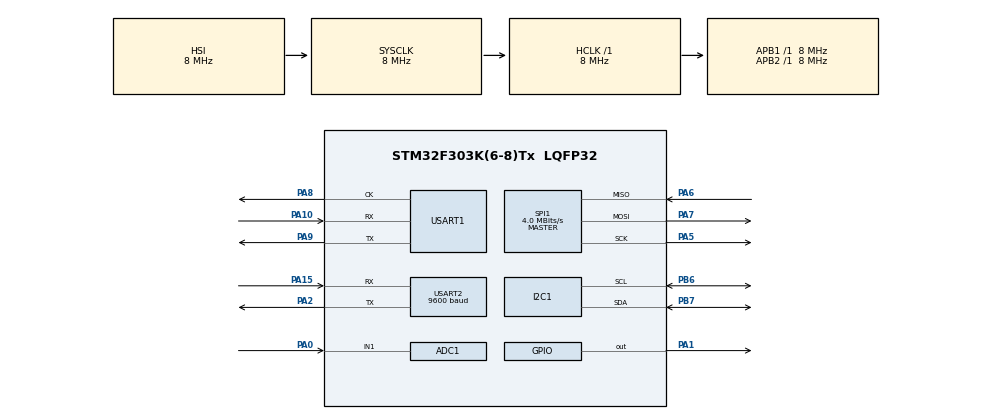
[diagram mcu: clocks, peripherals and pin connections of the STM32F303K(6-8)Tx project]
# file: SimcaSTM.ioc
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ADC1.Channel-0\#ChannelRegularConversion=ADC_CHANNEL_1
ADC1.NbrOfConversionFlag=1
ADC1.Offset-0\#ChannelRegularConversion=0
ADC1.OffsetNumber-0\#ChannelRegularConversion=ADC_OFFSET_NONE
ADC1.Rank-0\#ChannelRegularConversion=1
ADC1.SamplingTime-0\#ChannelRegularConversion=ADC_SAMPLETIME_1CYCLE_5
ADC1.SubFamily=STM32F303x8
ADC1.master=1
FREERTOS.Tasks01=defaultTask,24,128,StartDefaultTask,Default,NULL,Dynamic,NULL,NULL
FREERTOS.configTOTAL_HEAP_SIZE=4096
I2C1.OwnAddress=0x5C
Mcu.Family=STM32F3
Mcu.Name=STM32F303K(6-8)Tx
Mcu.Package=LQFP32
NVIC.PriorityGroup=NVIC_PRIORITYGROUP_4
PA0.Mode=IN1-Single-Ended
PA0.Signal=ADC1_IN1
PA1.Signal=GPIO_Output
PA10.Mode=Synchronous
PA10.Signal=USART1_RX
PA13.GPIO_Label=SWDIO
PA13.Mode=Serial_Wire
PA13.Signal=SYS_JTMS-SWDIO
PA14.GPIO_Label=SWCLK
PA14.Mode=Serial_Wire
PA14.Signal=SYS_JTCK-SWCLK
PA15.Mode=Asynchronous
PA15.Signal=USART2_RX
PA2.Mode=Asynchronous
PA2.Signal=USART2_TX
PA5.Mode=Full_Duplex_Master
PA5.Signal=SPI1_SCK
PA6.Mode=Full_Duplex_Master
PA6.Signal=SPI1_MISO
PA7.Mode=Full_Duplex_Master
PA7.Signal=SPI1_MOSI
PA8.Mode=Synchronous
PA8.Signal=USART1_CK
PA9.Mode=Synchronous
PA9.Signal=USART1_TX
PB6.Mode=I2C
PB6.Signal=I2C1_SCL
PB7.Mode=I2C
PB7.Signal=I2C1_SDA
PF0\ /\ OSC_IN.GPIO_Label=MCO
PF0\ /\ OSC_IN.Mode=HSE-External-Clock-Source
PF0\ /\ OSC_IN.Signal=RCC_OSC_IN
ProjectManager.HeapSize=0x200
ProjectManager.StackSize=0x400
ProjectManager.TargetToolchain=STM32CubeIDE
RCC.AHBFreq_Value=8000000
RCC.APB1Freq_Value=8000000
RCC.APB2Freq_Value=8000000
RCC.CortexFreq_Value=8000000
RCC.HSE_VALUE=8000000
RCC.HSI_VALUE=8000000
RCC.PLLMUL=RCC_PLL_MUL4
RCC.SYSCLKFreq_VALUE=8000000
SPI1.CalculateBaudRate=4.0 MBits/s
SPI1.Direction=SPI_DIRECTION_2LINES
SPI1.Mode=SPI_MODE_MASTER
SPI1.VirtualType=VM_MASTER
USART1.VirtualMode-Synchronous=VM_SYNC
USART2.BaudRate=9600
USART2.VirtualMode-Asynchronous=VM_ASYNC
VP_FREERTOS_VS_CMSIS_V2.Mode=CMSIS_V2
board=NUCLEO-F303K8

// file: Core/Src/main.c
/* USER CODE BEGIN Header */
/**
  ******************************************************************************
  * @file           : main.c
  * @brief          : Main program body
  ******************************************************************************
  * @attention
  *
  * Copyright (c) 2024 STMicroelectronics.
  * All rights reserved.
  *
  * This software is licensed under terms that can be found in the LICENSE file
  * in the root directory of this software component.
  * If no LICENSE file comes with this software, it is provided AS-IS.
  *
  ******************************************************************************
  */
/* USER CODE END Header */
#include "main.h"
#include "cmsis_os.h"

ADC_HandleTypeDef hadc1;

I2C_HandleTypeDef hi2c1;

SPI_HandleTypeDef hspi1;

USART_HandleTypeDef husart1;
UART_HandleTypeDef huart2;

/* Definitions for defaultTask */
osThreadId_t defaultTaskHandle;
const osThreadAttr_t defaultTask_attributes = {
  .name = "defaultTask",
  .stack_size = 128 * 4,
  .priority = (osPriority_t) osPriorityNormal,
};
/* USER CODE BEGIN PV */
#define I2C_ADDRESS 0x5C // Dirección del sensor I2C
#define FACTOR_DE_CONVERSION_CO2 5000 / 3.3

/* USER CODE END PV */

void SystemClock_Config(void);
static void MX_GPIO_Init(void);
static void MX_USART2_UART_Init(void);
static void MX_ADC1_Init(void);
static void MX_I2C1_Init(void);
static void MX_SPI1_Init(void);
static void MX_USART1_Init(void);
void StartDefaultTask(void *argument);

/* USER CODE BEGIN 0 */

void vADCTask(void *pvParameters) {
	uint16_t adc_value;
	float voltage;
	float value;
	char buffer[50];

	for (;;) {
		osDelay(2000); // Leer cada segundo
		// Leer el valor del ADC
		HAL_ADC_Start(&hadc1);
		if (HAL_ADC_PollForConversion(&hadc1, HAL_MAX_DELAY) == HAL_OK) {
			adc_value = HAL_ADC_GetValue(&hadc1);
		}
		HAL_ADC_Stop(&hadc1);

		// Convertir el valor del ADC a voltaje
		voltage = (adc_value * 5.0) / 4095; // Suponiendo un rango de 0 a 5V

		// Aplicar el FACTOR_DE_CONVERSION_CO2
		value = voltage * FACTOR_DE_CONVERSION_CO2;

		// Formatear el mensaje para enviarlo por UART
		int len = snprintf(buffer, sizeof(buffer), "ADD_GAS_CONCENTRATION:%.2f\n", value);
		if (len < 0 || len >= sizeof(buffer)) {
			// Error de formateo, el búfer es demasiado pequeño
			// Manejar el error según sea necesario
		}

		// Imprimir el contenido del búfer para depuración
		printf("Contenido del búfer: %s\n", buffer);

		// Enviar el mensaje por UART
		HAL_UART_Transmit(&huart2, (uint8_t*)buffer, len, HAL_MAX_DELAY);
	}
}

void vI2CTask(void *pvParameters) {
  uint8_t data[2];
  uint16_t value;
  char buffer[50]; // Aumenta el tamaño del buffer para acomodar el mensaje completo
  for (;;) {
  	HAL_Delay(1000); // Leer cada segundo
    // Leer datos del sensor I2C
    HAL_I2C_Master_Receive(&hi2c1, I2C_ADDRESS, data, 2, HAL_MAX_DELAY);

    // Convertir datos en un valor
    value = (data[0] << 8) | data[1];

    // Formatear el mensaje para que coincida con el formato esperado por el servidor
    sprintf(buffer, "ADD_LIGHT_INTENSITY:%d\n", value);

    // Enviar el valor formateado por la UART
    HAL_UART_Transmit(&huart2, (uint8_t*)buffer, strlen(buffer), HAL_MAX_DELAY);
  }
}

void vSPITask(void *pvParameters) {
    uint8_t rxBuffer[4];
    uint32_t temperature;
    char buffer[50];

    for (;;) {
    	HAL_Delay(2000);
        HAL_GPIO_WritePin(GPIOA, GPIO_PIN_1, GPIO_PIN_RESET); // CS Low (usar PA1)
        HAL_SPI_Receive(&hspi1, rxBuffer, 4, HAL_MAX_DELAY);  // Leer 4 bytes del MAX31855
        HAL_GPIO_WritePin(GPIOA, GPIO_PIN_1, GPIO_PIN_SET);   // CS High (usar PA1)

        // Combinar los bytes recibidos en un valor de 32 bits
        temperature = (rxBuffer[0] << 24) | (rxBuffer[1] << 16) | (rxBuffer[2] << 8) | rxBuffer[3];

        // Extraer el valor de temperatura
        int16_t temp = (temperature >> 18) & 0x00003FFF;
        if (temp & 0x2000) {
            temp |= 0xC000; // Extender el signo para valores negativos
        }

        float temperatureCelsius = temp * 0.25; // Convertir a grados Celsius

        // Formatear el mensaje para enviarlo por UART
        int len = snprintf(buffer, sizeof(buffer), "ADD_TEMPERATURE:%.2f\n", temperatureCelsius);
        if (len > 0 && len < sizeof(buffer)) {
            HAL_UART_Transmit(&huart2, (uint8_t*)buffer, len, HAL_MAX_DELAY);
        }
    }
}

/* USER CODE END 0 */

int main(void)
{

  /* MCU Configuration--------------------------------------------------------*/

  /* Reset of all peripherals, Initializes the Flash interface and the Systick. */
  HAL_Init();

  /* Configure the system clock */
  SystemClock_Config();

  /* Initialize all configured peripherals */
  MX_GPIO_Init();
  MX_USART2_UART_Init();
  MX_ADC1_Init();
  MX_I2C1_Init();
  MX_SPI1_Init();
  MX_USART1_Init();

  /* Init scheduler */
  osKernelInitialize();

  /* Create the thread(s) */
  /* creation of defaultTask */
  defaultTaskHandle = osThreadNew(StartDefaultTask, NULL, &defaultTask_attributes);

  /* USER CODE BEGIN RTOS_EVENTS */

  osThreadAttr_t adcTask_attributes = {
    .name = "adcTask",
    .stack_size = 256 * 4,
    .priority = (osPriority_t) osPriorityNormal,
  };

  osThreadAttr_t spiTask_attributes = {
     .name = "spiTask",
     .stack_size = 256 * 4,
     .priority = (osPriority_t) osPriorityNormal,
 };

  osThreadAttr_t i2cTask_attributes = {
    .name = "i2cTask",
    .stack_size = 256 * 4,
    .priority = (osPriority_t) osPriorityNormal,
  };

  osThreadId_t adcTaskHandle = osThreadNew(vADCTask, NULL, &adcTask_attributes);
  osThreadId_t spiTaskHandle = osThreadNew(vSPITask, NULL, &spiTask_attributes);
  osThreadId_t i2cTaskHandle = osThreadNew(vI2CTask, NULL, &i2cTask_attributes);
  if (adcTaskHandle == NULL) {
      printf("Failed to create adcTask\n");
  }
  if (spiTaskHandle == NULL) {
      printf("Failed to create spiTask\n");
  }
  if (i2cTaskHandle == NULL) {
      printf("Failed to create i2cTask\n");
  }

  /* USER CODE END RTOS_EVENTS */

  /* Start scheduler */
  osKernelStart();

  /* We should never get here as control is now taken by the scheduler */

  /* Infinite loop */
  while (1)
  {

  }
}

void SystemClock_Config(void)
{
  RCC_OscInitTypeDef RCC_OscInitStruct = {0};
  RCC_ClkInitTypeDef RCC_ClkInitStruct = {0};
  RCC_PeriphCLKInitTypeDef PeriphClkInit = {0};

  /** Initializes the RCC Oscillators according to the specified parameters
  * in the RCC_OscInitTypeDef structure.
  */
  RCC_OscInitStruct.OscillatorType = RCC_OSCILLATORTYPE_HSI;
  RCC_OscInitStruct.HSIState = RCC_HSI_ON;
  RCC_OscInitStruct.HSICalibrationValue = RCC_HSICALIBRATION_DEFAULT;
  RCC_OscInitStruct.PLL.PLLState = RCC_PLL_ON;
  RCC_OscInitStruct.PLL.PLLSource = RCC_PLLSOURCE_HSI;
  RCC_OscInitStruct.PLL.PLLMUL = RCC_PLL_MUL4;
  if (HAL_RCC_OscConfig(&RCC_OscInitStruct) != HAL_OK)
  {
    Error_Handler();
  }

  /** Initializes the CPU, AHB and APB buses clocks
  */
  RCC_ClkInitStruct.ClockType = RCC_CLOCKTYPE_HCLK|RCC_CLOCKTYPE_SYSCLK
                              |RCC_CLOCKTYPE_PCLK1|RCC_CLOCKTYPE_PCLK2;
  RCC_ClkInitStruct.SYSCLKSource = RCC_SYSCLKSOURCE_HSI;
  RCC_ClkInitStruct.AHBCLKDivider = RCC_SYSCLK_DIV1;
  RCC_ClkInitStruct.APB1CLKDivider = RCC_HCLK_DIV1;
  RCC_ClkInitStruct.APB2CLKDivider = RCC_HCLK_DIV1;

  if (HAL_RCC_ClockConfig(&RCC_ClkInitStruct, FLASH_LATENCY_0) != HAL_OK)
  {
    Error_Handler();
  }
  PeriphClkInit.PeriphClockSelection = RCC_PERIPHCLK_USART1|RCC_PERIPHCLK_I2C1
                              |RCC_PERIPHCLK_ADC12;
  PeriphClkInit.Usart1ClockSelection = RCC_USART1CLKSOURCE_PCLK1;
  PeriphClkInit.Adc12ClockSelection = RCC_ADC12PLLCLK_DIV1;
  PeriphClkInit.I2c1ClockSelection = RCC_I2C1CLKSOURCE_HSI;
  if (HAL_RCCEx_PeriphCLKConfig(&PeriphClkInit) != HAL_OK)
  {
    Error_Handler();
  }
}

static void MX_ADC1_Init(void)
{

  ADC_MultiModeTypeDef multimode = {0};
  ADC_ChannelConfTypeDef sConfig = {0};

  /** Common config
  */
  hadc1.Instance = ADC1;
  hadc1.Init.ClockPrescaler = ADC_CLOCK_ASYNC_DIV1;
  hadc1.Init.Resolution = ADC_RESOLUTION_12B;
  hadc1.Init.ScanConvMode = ADC_SCAN_DISABLE;
  hadc1.Init.ContinuousConvMode = DISABLE;
  hadc1.Init.DiscontinuousConvMode = DISABLE;
  hadc1.Init.ExternalTrigConvEdge = ADC_EXTERNALTRIGCONVEDGE_NONE;
  hadc1.Init.ExternalTrigConv = ADC_SOFTWARE_START;
  hadc1.Init.DataAlign = ADC_DATAALIGN_RIGHT;
  hadc1.Init.NbrOfConversion = 1;
  hadc1.Init.DMAContinuousRequests = DISABLE;
  hadc1.Init.EOCSelection = ADC_EOC_SINGLE_CONV;
  hadc1.Init.LowPowerAutoWait = DISABLE;
  hadc1.Init.Overrun = ADC_OVR_DATA_OVERWRITTEN;
  if (HAL_ADC_Init(&hadc1) != HAL_OK)
  {
    Error_Handler();
  }

  /** Configure the ADC multi-mode
  */
  multimode.Mode = ADC_MODE_INDEPENDENT;
  if (HAL_ADCEx_MultiModeConfigChannel(&hadc1, &multimode) != HAL_OK)
  {
    Error_Handler();
  }

  /** Configure Regular Channel
  */
  sConfig.Channel = ADC_CHANNEL_1;
  sConfig.Rank = ADC_REGULAR_RANK_1;
  sConfig.SingleDiff = ADC_SINGLE_ENDED;
  sConfig.SamplingTime = ADC_SAMPLETIME_1CYCLE_5;
  sConfig.OffsetNumber = ADC_OFFSET_NONE;
  sConfig.Offset = 0;
  if (HAL_ADC_ConfigChannel(&hadc1, &sConfig) != HAL_OK)
  {
    Error_Handler();
  }

}

static void MX_I2C1_Init(void)
{

  hi2c1.Instance = I2C1;
  hi2c1.Init.Timing = 0x2000090E;
  hi2c1.Init.OwnAddress1 = 184;
  hi2c1.Init.AddressingMode = I2C_ADDRESSINGMODE_7BIT;
  hi2c1.Init.DualAddressMode = I2C_DUALADDRESS_DISABLE;
  hi2c1.Init.OwnAddress2 = 0;
  hi2c1.Init.OwnAddress2Masks = I2C_OA2_NOMASK;
  hi2c1.Init.GeneralCallMode = I2C_GENERALCALL_DISABLE;
  hi2c1.Init.NoStretchMode = I2C_NOSTRETCH_DISABLE;
  if (HAL_I2C_Init(&hi2c1) != HAL_OK)
  {
    Error_Handler();
  }

  /** Configure Analogue filter
  */
  if (HAL_I2CEx_ConfigAnalogFilter(&hi2c1, I2C_ANALOGFILTER_ENABLE) != HAL_OK)
  {
    Error_Handler();
  }

  /** Configure Digital filter
  */
  if (HAL_I2CEx_ConfigDigitalFilter(&hi2c1, 0) != HAL_OK)
  {
    Error_Handler();
  }

}

static void MX_SPI1_Init(void)
{

  /* SPI1 parameter configuration*/
  hspi1.Instance = SPI1;
  hspi1.Init.Mode = SPI_MODE_MASTER;
  hspi1.Init.Direction = SPI_DIRECTION_2LINES;
  hspi1.Init.DataSize = SPI_DATASIZE_4BIT;
  hspi1.Init.CLKPolarity = SPI_POLARITY_LOW;
  hspi1.Init.CLKPhase = SPI_PHASE_1EDGE;
  hspi1.Init.NSS = SPI_NSS_SOFT;
  hspi1.Init.BaudRatePrescaler = SPI_BAUDRATEPRESCALER_2;
  hspi1.Init.FirstBit = SPI_FIRSTBIT_MSB;
  hspi1.Init.TIMode = SPI_TIMODE_DISABLE;
  hspi1.Init.CRCCalculation = SPI_CRCCALCULATION_DISABLE;
  hspi1.Init.CRCPolynomial = 7;
  hspi1.Init.CRCLength = SPI_CRC_LENGTH_DATASIZE;
  hspi1.Init.NSSPMode = SPI_NSS_PULSE_ENABLE;
  if (HAL_SPI_Init(&hspi1) != HAL_OK)
  {
    Error_Handler();
  }

}

static void MX_USART1_Init(void)
{

  husart1.Instance = USART1;
  husart1.Init.BaudRate = 38400;
  husart1.Init.WordLength = USART_WORDLENGTH_8B;
  husart1.Init.StopBits = USART_STOPBITS_1;
  husart1.Init.Parity = USART_PARITY_NONE;
  husart1.Init.Mode = USART_MODE_TX_RX;
  husart1.Init.CLKPolarity = USART_POLARITY_LOW;
  husart1.Init.CLKPhase = USART_PHASE_1EDGE;
  husart1.Init.CLKLastBit = USART_LASTBIT_DISABLE;
  if (HAL_USART_Init(&husart1) != HAL_OK)
  {
    Error_Handler();
  }

}

static void MX_USART2_UART_Init(void)
{

  huart2.Instance = USART2;
  huart2.Init.BaudRate = 9600;
  huart2.Init.WordLength = UART_WORDLENGTH_8B;
  huart2.Init.StopBits = UART_STOPBITS_1;
  huart2.Init.Parity = UART_PARITY_NONE;
  huart2.Init.Mode = UART_MODE_TX_RX;
  huart2.Init.HwFlowCtl = UART_HWCONTROL_NONE;
  huart2.Init.OverSampling = UART_OVERSAMPLING_16;
  huart2.Init.OneBitSampling = UART_ONE_BIT_SAMPLE_DISABLE;
  huart2.AdvancedInit.AdvFeatureInit = UART_ADVFEATURE_NO_INIT;
  if (HAL_UART_Init(&huart2) != HAL_OK)
  {
    Error_Handler();
  }

}

static void MX_GPIO_Init(void)
{
  GPIO_InitTypeDef GPIO_InitStruct = {0};

  /* GPIO Ports Clock Enable */
  __HAL_RCC_GPIOF_CLK_ENABLE();
  __HAL_RCC_GPIOA_CLK_ENABLE();
  __HAL_RCC_GPIOB_CLK_ENABLE();

  /*Configure GPIO pin Output Level */
  HAL_GPIO_WritePin(GPIOA, GPIO_PIN_1, GPIO_PIN_RESET);

  /*Configure GPIO pin : PA1 */
  GPIO_InitStruct.Pin = GPIO_PIN_1;
  GPIO_InitStruct.Mode = GPIO_MODE_OUTPUT_PP;
  GPIO_InitStruct.Pull = GPIO_NOPULL;
  GPIO_InitStruct.Speed = GPIO_SPEED_FREQ_LOW;
  HAL_GPIO_Init(GPIOA, &GPIO_InitStruct);

}

void StartDefaultTask(void *argument)
{
  for(;;)
  {
    osDelay(1);
  }
}

void Error_Handler(void)
{
  __disable_irq();
  while (1)
  {
  }
}
